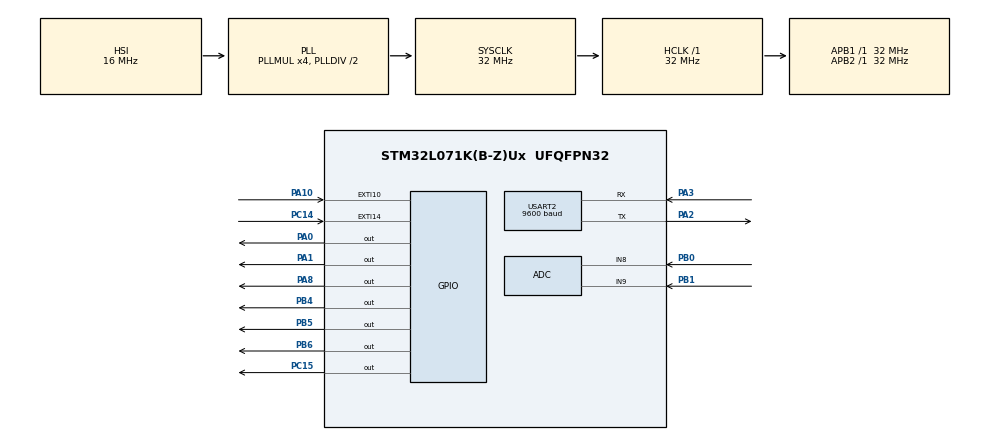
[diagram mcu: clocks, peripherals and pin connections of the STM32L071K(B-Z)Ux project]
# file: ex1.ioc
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ADC.DiscontinuousConvMode=ENABLE
Dma.MEMTOMEM.0.Direction=DMA_MEMORY_TO_MEMORY
Dma.MEMTOMEM.0.Instance=DMA1_Channel1
Dma.MEMTOMEM.0.MemDataAlignment=DMA_MDATAALIGN_BYTE
Dma.MEMTOMEM.0.MemInc=DMA_MINC_ENABLE
Dma.MEMTOMEM.0.Mode=DMA_NORMAL
Dma.MEMTOMEM.0.PeriphDataAlignment=DMA_PDATAALIGN_BYTE
Dma.MEMTOMEM.0.PeriphInc=DMA_PINC_ENABLE
Dma.MEMTOMEM.0.Priority=DMA_PRIORITY_LOW
Dma.Request0=MEMTOMEM
Dma.Request1=USART2_RX
Dma.USART2_RX.1.Direction=DMA_PERIPH_TO_MEMORY
Dma.USART2_RX.1.Instance=DMA1_Channel5
Dma.USART2_RX.1.MemDataAlignment=DMA_MDATAALIGN_BYTE
Dma.USART2_RX.1.MemInc=DMA_MINC_ENABLE
Dma.USART2_RX.1.Mode=DMA_CIRCULAR
Dma.USART2_RX.1.PeriphDataAlignment=DMA_PDATAALIGN_BYTE
Dma.USART2_RX.1.PeriphInc=DMA_PINC_DISABLE
Dma.USART2_RX.1.Priority=DMA_PRIORITY_LOW
Mcu.Family=STM32L0
Mcu.Name=STM32L071K(B-Z)Ux
Mcu.Package=UFQFPN32
NVIC.ADC1_COMP_IRQn=true\:0\:0\:false\:false\:true\:true\:true
NVIC.DMA1_Channel1_IRQn=true\:0\:0\:false\:false\:true\:true\:true
NVIC.DMA1_Channel4_5_6_7_IRQn=true\:0\:0\:false\:false\:true\:false\:true
NVIC.EXTI4_15_IRQn=true\:0\:0\:false\:false\:true\:true\:true
NVIC.TIM6_IRQn=true\:0\:0\:false\:false\:true\:true\:true
NVIC.USART2_IRQn=true\:0\:0\:false\:false\:true\:true\:true
PA0.Signal=GPIO_Output
PA1.Signal=GPIO_Output
PA10.Signal=GPXTI10
PA13.Mode=Serial_Wire
PA13.Signal=SYS_SWDIO
PA14.Mode=Serial_Wire
PA14.Signal=SYS_SWCLK
PA2.Mode=Asynchronous
PA2.Signal=USART2_TX
PA3.Mode=Asynchronous
PA3.Signal=USART2_RX
PA8.Signal=GPIO_Output
PB0.Mode=IN8
PB0.Signal=ADC_IN8
PB1.Mode=IN9
PB1.Signal=ADC_IN9
PB4.Signal=GPIO_Output
PB5.Signal=GPIO_Output
PB6.Signal=GPIO_Output
PC14-OSC32_IN.Signal=GPXTI14
PC15-OSC32_OUT.Signal=GPIO_Output
ProjectManager.HeapSize=0x200
ProjectManager.StackSize=0x400
ProjectManager.TargetToolchain=MDK-ARM V5
RCC.AHBFreq_Value=32000000
RCC.APB1Freq_Value=32000000
RCC.APB1TimFreq_Value=32000000
RCC.APB2Freq_Value=32000000
RCC.APB2TimFreq_Value=32000000
RCC.HCLKFreq_Value=32000000
RCC.HSI16_VALUE=16000000
RCC.HSI_VALUE=16000000
RCC.LSE_VALUE=32768
RCC.MSI_VALUE=2097000
RCC.PLLMUL=RCC_PLLMUL_4
RCC.SYSCLKFreq_VALUE=32000000
RCC.SYSCLKSource=RCC_SYSCLKSOURCE_PLLCLK
RCC.VCOOutputFreq_Value=64000000
RTC.Format=RTC_FORMAT_BIN
RTC.SynchPrediv=307
TIM6.Period=999
TIM6.Prescaler=31
USART2.BaudRate=9600
USART2.VirtualMode-Asynchronous=VM_ASYNC
VP_CRC_VS_CRC.Mode=CRC_Activate
VP_RTC_VS_RTC_Activate.Mode=RTC_Enabled
VP_RTC_VS_RTC_Calendar.Mode=RTC_Calendar
VP_TIM6_VS_ClockSourceINT.Mode=Enable_Timer
board=custom

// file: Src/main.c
/* USER CODE BEGIN Header */
/**
  ******************************************************************************
  * @file           : main.c
  * @brief          : Main program body
  ******************************************************************************
  * @attention
  *
  * <h2><center>&copy; Copyright (c) 2019 STMicroelectronics.
  * All rights reserved.</center></h2>
  *
  * This software component is licensed by ST under BSD 3-Clause license,
  * the "License"; You may not use this file except in compliance with the
  * License. You may obtain a copy of the License at:
  *                        opensource.org/licenses/BSD-3-Clause
  *
  ******************************************************************************
  */
/* USER CODE END Header */

#include "main.h"
#include "adc.h"
#include "crc.h"
#include "dma.h"
#include "rtc.h"
#include "tim.h"
#include "usart.h"
#include "gpio.h"

/* USER CODE BEGIN Includes */
#include "stm32l0xx_hal.h"
#include "zm4xx_gpio.h"
#include "spi.h"
#include "timer.h"
#include "stddef.h"
#include "sx127x_lora.h"

/* USER CODE END Includes */

/* USER CODE BEGIN PTD */
#define FREQ  (433000000)
void SystemClock_Config(void);
void Hardware_Init(void);
radio_handle_t  handle;
int ret = RADIO_RET_OK;

    uint16_t len = 0;
		uint8_t rx[100];
		uint8_t tx = 0x55;
		uint8_t cntr = 0;
	unsigned int time_i=0,time_10ms=1,time_100ms=1;
	unsigned int lora_flag=2,send_allow=1;;
	float value[2];
	unsigned int key_flag=1;
	char lcdLine_1st_line[16];
  char lcdLine_2st_line[16];

/* USER CODE END PTD */

void SystemClock_Config(void);

/* USER CODE BEGIN 0 */
void Task_BrdInit(void)
{
    HAL_GPIO_WritePin(GPIOC, GPIO_PIN_15, GPIO_PIN_SET);

    OLED_PowerControl(ENABLE);

    HAL_Delay(200);
    OLED_Init();
    OLED_Clear();

    OLED_ShowString(0, 0, (unsigned char *)"                ", 16);
    OLED_ShowString(0, 2, (unsigned char *)"                ", 16);
}
void LoRa_Init(void)
{

	handle = radio_zm4xx_inst_init(spi_recv_byte,spi_send_byte,zm4xx_rst_pin_set,zm4xx_sel_pin_set,delay_ms,delay_us);

	if(handle != NULL){
		if(RADIO_RET_OK == radio_freq_set(handle, FREQ)){
				HAL_GPIO_WritePin(GPIOC, GPIO_PIN_15,GPIO_PIN_RESET);
		}

		radio_mode_set(handle, RX_MODE);	//Receive Mode
	}
}
void key(void);
void node(void);
/* USER CODE END 0 */

int main(void)
{

  /* MCU Configuration--------------------------------------------------------*/

  /* Reset of all peripherals, Initializes the Flash interface and the Systick. */
  HAL_Init();

  /* Configure the system clock */
  SystemClock_Config();

  /* Initialize all configured peripherals */
  MX_GPIO_Init();
  MX_DMA_Init();
  MX_CRC_Init();
  MX_USART2_UART_Init();
  MX_RTC_Init();
  MX_TIM6_Init();
  MX_ADC_Init();
  /* USER CODE BEGIN 2 */
    Task_BrdInit();
		zm4xx_pin_init(); //LORA��Ҫ
    spi_init();//LORA��Ҫ
		LoRa_Init();
		HAL_TIM_Base_Start_IT(&htim6);
  /* USER CODE END 2 */

  /* Infinite loop */
    while (1)
    {

    /* USER CODE BEGIN 3 */
			if(time_100ms==1)
			{
				for(int i=0;i<=1;i++)
				{
					HAL_ADC_Start(&hadc);
					if(HAL_ADC_PollForConversion(&hadc,100)==HAL_OK)
						value[i]=HAL_ADC_GetValue(&hadc)*3.3/4095;
				}
				OLED_ShowString(0, 0, (unsigned char *)rx, 16);
				OLED_ShowString(0, 2, (unsigned char *)lcdLine_2st_line, 16);
				time_100ms=0;
			}
//			key();
//			node();
			radio_buf_send(handle, (unsigned char *)lcdLine_1st_line, strlen(lcdLine_1st_line));
    radio_mode_set(handle, RX_MODE);
		}
  /* USER CODE END 3 */
}
/* USER CODE BEGIN 4 */
void node()
{
	char send[50];
	if(lora_flag==1)
	{
		lora_flag=0;
		send_allow=0;
		if(rx[0]=='1'&&rx[1]=='1')
		{
			sprintf(send, "VAIN1:%.2f",value[1]);
			radio_buf_send(handle, (unsigned char *)send, strlen(send));
			radio_mode_set(handle, RX_MODE);
		}
		if(rx[0]=='1'&&rx[1]=='2')
		{
			sprintf(send, "VAIN2:%.2f",value[0]);
			radio_buf_send(handle, (unsigned char *)send, strlen(send));
			radio_mode_set(handle, RX_MODE);
		}
		if(rx[0]=='2'&&rx[1]=='1')
		{
			HAL_GPIO_TogglePin(GPIOA, GPIO_PIN_0);
		}
		if(rx[0]=='2'&&rx[1]=='2')
		{
			HAL_GPIO_TogglePin(GPIOA, GPIO_PIN_1);
		}
		send_allow=1;
	}
}
void key()
{
	if(key_flag==1)
	{
		sprintf(lcdLine_1st_line, "VAIN:%.2f",value[1]);
		sprintf(lcdLine_2st_line, "VAIN:%.2f",value[0]);
	}
	if(key_flag==0)
	{
		sprintf(lcdLine_1st_line, "                ");
		sprintf(lcdLine_2st_line, "                ");
		OLED_ShowString(0, 0, (unsigned char *)"                ", 16);
    OLED_ShowString(0, 2, (unsigned char *)"                ", 16);
	}
}
void HAL_TIM_PeriodElapsedCallback(TIM_HandleTypeDef *htim)
{
	time_i++;
	if(time_i==9999)	time_i=0;
	if(time_i%100==0)	time_100ms=!time_100ms;
}
void HAL_GPIO_EXTI_Callback(uint16_t GPIO_Pin)
{
	if(GPIO_Pin==GPIO_PIN_10)
	{
		if(send_allow==1)
		{
//			ret = radio_buf_recv(handle, rx, &len);
//			lora_flag=1;
		}
	}
	if(GPIO_Pin==GPIO_PIN_14)
	{
		static unsigned int i=0;
		i++;
		if(i>2)
		{
			key_flag=!key_flag;
		}
	}
}
/* USER CODE END 4 */

void SystemClock_Config(void)
{
  RCC_OscInitTypeDef RCC_OscInitStruct = {0};
  RCC_ClkInitTypeDef RCC_ClkInitStruct = {0};
  RCC_PeriphCLKInitTypeDef PeriphClkInit = {0};

  /** Configure the main internal regulator output voltage
  */
  __HAL_PWR_VOLTAGESCALING_CONFIG(PWR_REGULATOR_VOLTAGE_SCALE1);
  /** Initializes the CPU, AHB and APB busses clocks
  */
  RCC_OscInitStruct.OscillatorType = RCC_OSCILLATORTYPE_HSI|RCC_OSCILLATORTYPE_LSI;
  RCC_OscInitStruct.HSIState = RCC_HSI_ON;
  RCC_OscInitStruct.HSICalibrationValue = RCC_HSICALIBRATION_DEFAULT;
  RCC_OscInitStruct.LSIState = RCC_LSI_ON;
  RCC_OscInitStruct.PLL.PLLState = RCC_PLL_ON;
  RCC_OscInitStruct.PLL.PLLSource = RCC_PLLSOURCE_HSI;
  RCC_OscInitStruct.PLL.PLLMUL = RCC_PLLMUL_4;
  RCC_OscInitStruct.PLL.PLLDIV = RCC_PLLDIV_2;
  if (HAL_RCC_OscConfig(&RCC_OscInitStruct) != HAL_OK)
  {
    Error_Handler();
  }
  /** Initializes the CPU, AHB and APB busses clocks
  */
  RCC_ClkInitStruct.ClockType = RCC_CLOCKTYPE_HCLK|RCC_CLOCKTYPE_SYSCLK
                              |RCC_CLOCKTYPE_PCLK1|RCC_CLOCKTYPE_PCLK2;
  RCC_ClkInitStruct.SYSCLKSource = RCC_SYSCLKSOURCE_PLLCLK;
  RCC_ClkInitStruct.AHBCLKDivider = RCC_SYSCLK_DIV1;
  RCC_ClkInitStruct.APB1CLKDivider = RCC_HCLK_DIV1;
  RCC_ClkInitStruct.APB2CLKDivider = RCC_HCLK_DIV1;

  if (HAL_RCC_ClockConfig(&RCC_ClkInitStruct, FLASH_LATENCY_1) != HAL_OK)
  {
    Error_Handler();
  }
  PeriphClkInit.PeriphClockSelection = RCC_PERIPHCLK_USART2|RCC_PERIPHCLK_RTC;
  PeriphClkInit.Usart2ClockSelection = RCC_USART2CLKSOURCE_PCLK1;
  PeriphClkInit.RTCClockSelection = RCC_RTCCLKSOURCE_LSI;
  if (HAL_RCCEx_PeriphCLKConfig(&PeriphClkInit) != HAL_OK)
  {
    Error_Handler();
  }
}

void Error_Handler(void)
{
}

/************************ (C) COPYRIGHT STMicroelectronics *****END OF FILE****/
